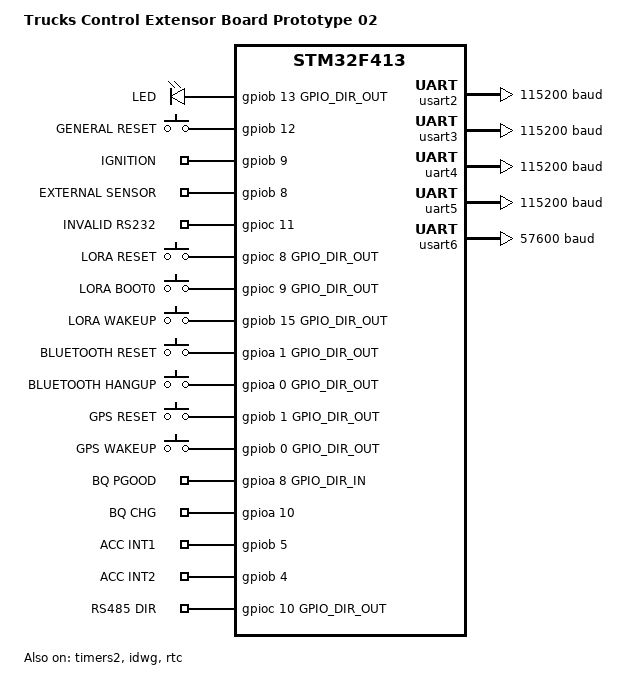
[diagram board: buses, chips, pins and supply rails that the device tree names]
/*
 * Copyright (c) 2018 Truck Control
 *
 */

/dts-v1/;
#include <st/f4/stm32f413Xh.dtsi>

/ {
	soc {
		pinctrl: pin-controller@40020000 {
			usart2_pins_b: usart2 {
				rx_tx {
					rx = <STM32_PIN_PA3 (STM32_PINMUX_ALT_FUNC_7 | STM32_PUSHPULL_PULLUP)>;
					tx = <STM32_PIN_PA2 (STM32_PINMUX_ALT_FUNC_7 | STM32_PUSHPULL_NOPULL)>;
				};
			};
            usart3_pins_c: usart3 {
				rx_tx {
					rx = <STM32_PIN_PC5 (STM32_PINMUX_ALT_FUNC_7 | STM32_PUSHPULL_NOPULL)>;
					tx = <STM32_PIN_PB10 (STM32_PINMUX_ALT_FUNC_7 | STM32_PUSHPULL_PULLUP)>;
				};
			};
			uart4_pins_c: uart4 {
				rx_tx {
					rx = <STM32_PIN_PA11 (STM32_PINMUX_ALT_FUNC_11 | STM32_PUSHPULL_NOPULL)>;
					tx = <STM32_PIN_PA12 (STM32_PINMUX_ALT_FUNC_11 | STM32_PUSHPULL_PULLUP)>;
				};
			};
            uart5_pins_a: uart5 {
				rx_tx {
					rx = <STM32_PIN_PD2 (STM32_PINMUX_ALT_FUNC_8 | STM32_PUSHPULL_PULLUP)>;
					tx = <STM32_PIN_PC12 (STM32_PINMUX_ALT_FUNC_8 | STM32_PUSHPULL_NOPULL)>;
				};
			};
		};
	};
};

/ {
	model = "Trucks Control Extensor Board Prototype 02";
	compatible = "st,stm32f413";

	chosen {
		zephyr,console = &uart5;
		zephyr,shell-uart = &uart5;
		zephyr,uart-mcumgr = &uart5;
		zephyr,uart-pipe = &uart5;
		zephyr,sram = &sram0;
		zephyr,flash = &flash0;
		zephyr,code-partition = &primary_slot_partition;
	};

	leds {
		compatible = "gpio-leds";
		green_led_1: led {
			gpios = <&gpiob 13 GPIO_DIR_OUT>;
			label = "LED";
		};
	};

	gpio_keys {
		compatible = "gpio-keys";
		general_reset_button: main0 {
			label = "GENERAL RESET";
			gpios = <&gpiob 12 (GPIO_DIR_IN | GPIO_INT | GPIO_PUD_PULL_UP | GPIO_INT_EDGE | GPIO_INT_ACTIVE_HIGH)>;
		};
		truck_ignition: main1 {
			label = "IGNITION";
			gpios = <&gpiob 9 (GPIO_DIR_IN | GPIO_INT | GPIO_PUD_PULL_UP | GPIO_INT_EDGE | GPIO_INT_DOUBLE_EDGE | GPIO_INT_DEBOUNCE)>;
		};
		truck_external_sensor: main2 {
			label = "EXTERNAL SENSOR";
			gpios = <&gpiob 8 (GPIO_DIR_IN | GPIO_INT | GPIO_PUD_PULL_UP | GPIO_INT_EDGE | GPIO_INT_DOUBLE_EDGE | GPIO_INT_DEBOUNCE)>;
		};
		truck_invalid_rs232: main3 {
			label = "INVALID RS232";
			gpios = <&gpioc 11 (GPIO_DIR_IN | GPIO_INT | GPIO_PUD_PULL_UP | GPIO_INT_EDGE | GPIO_INT_DOUBLE_EDGE | GPIO_INT_DEBOUNCE)>;
		};
		lora_reset: lora0 {
			label = "LORA RESET";
			gpios = <&gpioc 8 GPIO_DIR_OUT>;
		};
		lora_boot0: lora1 {
			label = "LORA BOOT0";
			gpios = <&gpioc 9 GPIO_DIR_OUT>;
		};
		lora_wakeup: lora2 {
			label = "LORA WAKEUP";
			gpios = <&gpiob 15 GPIO_DIR_OUT>;
		};
		bluetooth_reset: bluetooth0 {
			label = "BLUETOOTH RESET";
			gpios = <&gpioa 1 GPIO_DIR_OUT>;
		};
		bluetooth_hangup: bluetooth1 {
			label = "BLUETOOTH HANGUP";
			gpios = <&gpioa 0 GPIO_DIR_OUT>;
		};
		gps_reset: gps0 {
			label = "GPS RESET";
			gpios = <&gpiob 1 GPIO_DIR_OUT>;
		};
		gps_wakeup: gps1 {
			label = "GPS WAKEUP";
			gpios = <&gpiob 0 GPIO_DIR_OUT>;
		};
		bq_pgood: battery0 {
			label = "BQ PGOOD";
			gpios = <&gpioa 8 GPIO_DIR_IN>;
		};
		bq_chg: battery1 {
			label = "BQ CHG";
			gpios = <&gpioa 10 (GPIO_DIR_IN | GPIO_INT | GPIO_PUD_PULL_UP | GPIO_INT_EDGE | GPIO_INT_DOUBLE_EDGE | GPIO_INT_DEBOUNCE)>;
		};
		acc_int1: acc0 {
			label = "ACC INT1";
			gpios = <&gpiob 5 (GPIO_DIR_IN | GPIO_INT | GPIO_PUD_PULL_UP | GPIO_INT_EDGE | GPIO_INT_ACTIVE_HIGH | GPIO_INT_DEBOUNCE)>;
		};
		acc_int2: acc1 {
			label = "ACC INT2";
			gpios = <&gpiob 4 (GPIO_DIR_IN | GPIO_INT | GPIO_PUD_PULL_UP | GPIO_INT_EDGE | GPIO_INT_ACTIVE_HIGH | GPIO_INT_DEBOUNCE)>;
		};
		rs485_dir: rs485 {
			label = "RS485 DIR";
			gpios = <&gpioc 10 GPIO_DIR_OUT>;
		};

	};

	aliases {
		led0 = &green_led_1;
		general-reset = &general_reset_button;
		ignition = &truck_ignition;
		external-sensor = &truck_external_sensor;
		invalid-rs232 = &truck_invalid_rs232;
		lora-reset = &lora_reset;
		lora-boot0 = &lora_boot0;
		lora-wakeup = &lora_wakeup;
		bluetooth-reset = &bluetooth_reset;
		bluetooth-hangup = &bluetooth_hangup;
		gps-reset = &gps_reset;
		gps-wakeup = &gps_wakeup;
		bq-pgood = &bq_pgood;
		bq-chg = &bq_chg;
		acc-int1 = &acc_int1;
		acc-int2 = &acc_int2;
		rs485-dir=&rs485_dir;
	};
};

&usart2 { // Bluetooth
	current-speed = <115200>;
	pinctrl-0 = <&usart2_pins_a>;
	pinctrl-names = "default";
	status = "ok";
};

&usart3 { // GPS
	current-speed = <115200>;
	pinctrl-0 = <&usart3_pins_c>;
	pinctrl-names = "default";
    status = "ok";
};

&uart4 { // User Debug
	current-speed = <115200>;
	pinctrl-0 = <&uart4_pins_c>;
	pinctrl-names = "default";
};

&uart5 { // RS232/RS485
	current-speed = <115200>;
	pinctrl-0 = <&uart5_pins_a>;
	pinctrl-names = "default";
	status = "ok";
};

&usart6 { // LoRa
	current-speed = <57600>;
	pinctrl-0 = <&usart6_pins_a>;
	pinctrl-names = "default";
	status = "ok";
};

&timers2 {
	status = "ok";
};

&idwg {
	status = "ok";
};

&rtc {
	status = "ok";
};

&flash0 {
	/*
	 * For more information, see:
	 * http://docs.zephyrproject.org/latest/devices/dts/flash_partitions.html
	 * Partitions defined based on the official documentation:
	 * https://www.st.com/content/ccc/resource/technical/document/reference_manual/group0/81/ea/88/1f/97/9e/4a/d0/DM00305666/files/DM00305666.pdf/jcr:content/translations/en.DM00305666.pdf
	 *
	 */
	partitions {
		compatible = "fixed-partitions";
		#address-cells = <1>;
		#size-cells = <1>;

		/* Boot partition 
		    - Sectors 0 up to 2 (16KB each) */
		boot_partition: partition@0 {
			label = "mcuboot";
			reg = <0x00000000 0xc000>;
			read-only;
		};
		/* Storage partition 
		    - Sectors 3 (16KB) + sector 4 (64KB) -> 16 + 64 = 80KB */
		storage_partition: partition@C000 { 
			label = "storage";
			reg = <0x000C000 0x14000>;
		};
		/* Primary partition (code partition) 
		    - Sectors 5 up to 9 (128KB each) -> 5*128KB = 640KB */
		primary_slot_partition: partition@20000 { 
			label = "image-0";
			reg = <0x00020000 0xA0000>;
		};
		/* Primary partition (code partition) 
		    - Sectors 10 up to 14 (128KB each) -> 5*128KB = 640KB */
		secondary_slot_partition: partition@C0000 { 
			label = "image-1";
			reg = <0x000C0000 0xA0000>;
		};
		/* Scratch partition
		    - Sector 15 (128KB) -> 128KB 
		 NOTE: It enables 2000 firmware updates */
		scratch_partition: partition@160000 { 
			label = "image-scratch";
			reg = <0x0160000 0x20000>;
		};
	};
};
